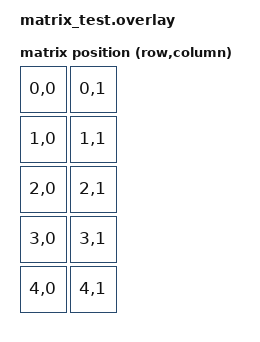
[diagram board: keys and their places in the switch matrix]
/*
 * Copyright (c) 2026 The ZMK Input Matrix Contributors
 * SPDX-License-Identifier: MIT
 */

#include <physical_layouts.dtsi>
#include <dt-bindings/zmk/matrix_transform.h>
#include <zephyr/dt-bindings/input/input-event-codes.h>

/ {
    chosen {
        zmk,kscan = &matrix_kscan;
        zmk,physical-layout = &matrix_layout;
    };

    matrix_kscan: matrix_kscan {
        compatible = "zmk,kscan-input-matrix";
        rows = <5>;
        columns = <2>;
    };

    matrix_transform: matrix_transform {
        compatible = "zmk,matrix-transform";
        rows = <5>;
        columns = <2>;
        map = <
            RC(0, 0) RC(0, 1)
            RC(1, 0) RC(1, 1)
            RC(2, 0) RC(2, 1)
            RC(3, 0) RC(3, 1)
            RC(4, 0) RC(4, 1)
        >;
    };

    matrix_layout: matrix_layout {
        compatible = "zmk,physical-layout";
        display-name = "Matrix test";
        transform = <&matrix_transform>;
        keys = <
            &key_physical_attrs 100 100   0   0 0 0 0
            &key_physical_attrs 100 100 100   0 0 0 0
            &key_physical_attrs 100 100   0 100 0 0 0
            &key_physical_attrs 100 100 100 100 0 0 0
            &key_physical_attrs 100 100   0 200 0 0 0
            &key_physical_attrs 100 100 100 200 0 0 0
            &key_physical_attrs 100 100   0 300 0 0 0
            &key_physical_attrs 100 100 100 300 0 0 0
            &key_physical_attrs 100 100   0 400 0 0 0
            &key_physical_attrs 100 100 100 400 0 0 0
        >;
    };

    matrix_source_left: matrix_source_left {
        compatible = "zmk,input-mock";
        event-period = <100>;
        events = <
            INPUT_EV_ABS INPUT_ABS_X 100 0
            INPUT_EV_ABS INPUT_ABS_Y 100 0
            INPUT_EV_KEY INPUT_BTN_TOUCH 1 1
        >;
    };

    matrix_source_right: matrix_source_right {
        compatible = "zmk,input-mock";
        event-period = <100>;
        events = <
            INPUT_EV_ABS INPUT_ABS_X 900 0
            INPUT_EV_ABS INPUT_ABS_Y 900 0
            INPUT_EV_KEY INPUT_BTN_TOUCH 1 1
        >;
    };

    matrix: matrix {
        compatible = "zmk,input-processor-matrix";
        #input-processor-cells = <0>;
        rows = <1>;
        columns = <2>;
        x = <1024>;
        y = <1024>;
        flick-threshold = <50>;
        long-press-ms = <300>;
        suppress-btn-touch;
        kscan = <&matrix_kscan>;
    };

    matrix_listener_left {
        compatible = "zmk,input-listener";
        device = <&matrix_source_left>;
        input-processors = <&matrix>;
    };

    matrix_listener_right {
        compatible = "zmk,input-listener";
        device = <&matrix_source_right>;
        input-processors = <&matrix>;
    };
};
